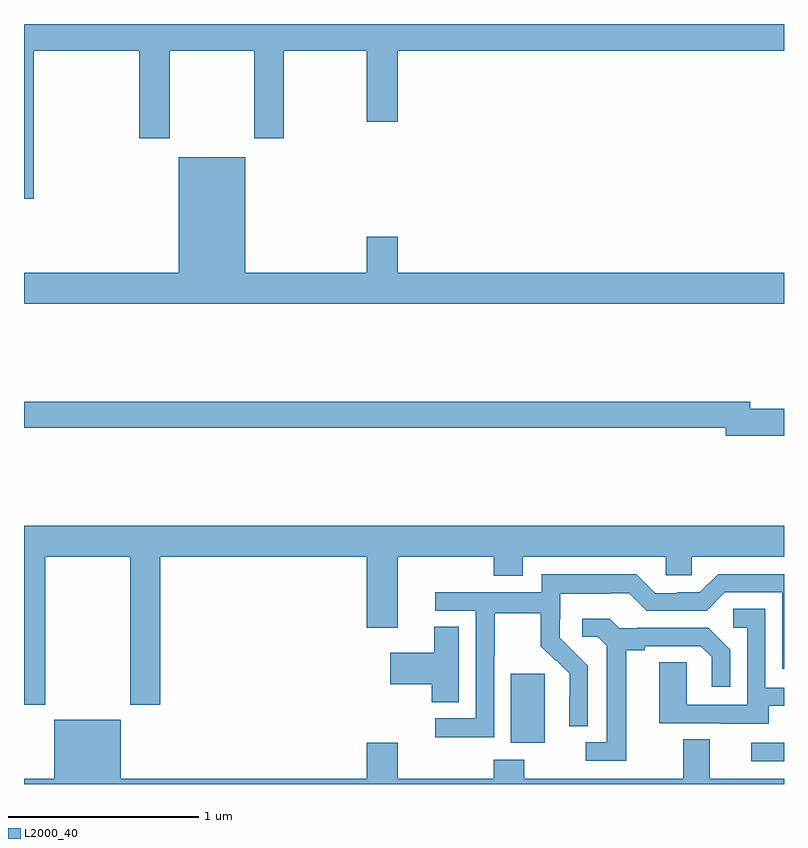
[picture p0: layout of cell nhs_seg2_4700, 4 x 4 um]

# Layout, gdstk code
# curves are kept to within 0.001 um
import gdstk
lib = gdstk.Library(unit=1e-6, precision=1e-09)
def R(c, l, rs):  # rectangles x0, y0, x1, y1
    for r in rs: c.add(gdstk.rectangle(r[:2], r[2:], *l))
def P(c, l, *ps):  # polygons
    for p in ps: c.add(gdstk.Polygon(p, *l))
L2000_40 = (2000, 40)

nhs_seg2_4700 = lib.new_cell('nhs_seg2_4700')
R(nhs_seg2_4700, L2000_40, [(370.827,619.92,371,620.016), (369.563,620.018,369.742,620.379)])
P(nhs_seg2_4700, L2000_40, [(367.052,623.66),(367.607,623.66),(367.607,623.199),(367.767,623.199),(367.767,623.66),(368.212,623.66),(368.212,623.199),(368.367,623.199),(368.367,623.66),(368.804,623.66),(368.804,623.286),(368.968,623.286),(368.968,623.66),(371,623.66),(371,623.8),(367,623.8),(367,622.881),(367.052,622.881)],
  [(371,622.492),(368.968,622.492),(368.968,622.681),(368.804,622.681),(368.804,622.492),(368.164,622.492),(368.164,623.098),(367.814,623.098),(367.814,622.492),(367,622.492),(367,622.328),(371,622.328)],
  [(371,621.776),(370.822,621.776),(370.822,621.812),(367,621.812),(367,621.676),(370.694,621.676),(370.694,621.634),(371,621.634)],
  [(367.113,620.996),(367.558,620.996),(367.558,620.217),(367.718,620.217),(367.718,620.996),(368.804,620.996),(368.804,620.622),(368.968,620.622),(368.968,620.996),(369.473,620.996),(369.473,620.897),(369.625,620.897),(369.625,620.996),(370.377,620.996),(370.377,620.898),(370.515,620.898),(370.515,620.996),(371,620.996),(371,621.16),(367,621.16),(367,620.217),(367.113,620.217)],
  [(369.474,620.476),(369.477,620.476),(369.477,620.7),(369.721,620.7),(369.721,620.525),(369.798,620.448),(369.801,620.451),(369.872,620.381),(369.872,620.258),(369.87,620.258),(369.87,620.104),(369.966,620.104),(369.966,620.422),(369.82,620.57),(369.82,620.667),(369.822,620.667),(369.822,620.801),(370.085,620.801),(370.085,620.805),(370.185,620.805),(370.278,620.712),(370.593,620.712),(370.689,620.808),(370.992,620.808),(370.992,620.406),(371,620.406),(371,620.904),(370.653,620.904),(370.557,620.808),(370.439,620.808),(370.439,620.805),(370.323,620.805),(370.223,620.905),(369.726,620.905),(369.726,620.808),(369.165,620.808),(369.165,620.712),(369.378,620.712),(369.378,620.145),(369.165,620.145),(369.165,620.047),(369.474,620.047)],
  [(370.921,620.211),(371,620.211),(371,620.307),(370.902,620.307),(370.902,620.723),(370.734,620.723),(370.734,620.622),(370.806,620.622),(370.806,620.217),(370.488,620.217),(370.488,620.441),(370.343,620.441),(370.343,620.121),(370.667,620.121),(370.667,620.117),(370.921,620.117)],
  [(370.171,620.504),(370.267,620.504),(370.267,620.526),(370.562,620.526),(370.619,620.469),(370.619,620.313),(370.716,620.313),(370.716,620.506),(370.6,620.622),(370.228,620.622),(370.228,620.619),(370.134,620.619),(370.082,620.671),(369.939,620.671),(369.939,620.574),(370.02,620.574),(370.067,620.527),(370.067,620.019),(369.957,620.019),(369.957,619.923),(370.171,619.923)],
  [(369.289,620.627),(369.158,620.627),(369.158,620.491),(368.928,620.491),(368.928,620.326),(369.146,620.326),(369.146,620.23),(369.289,620.23)],
  [(371,619.828),(370.609,619.828),(370.609,620.036),(370.469,620.036),(370.469,619.828),(369.633,619.828),(369.633,619.927),(369.473,619.927),(369.473,619.828),(368.968,619.828),(368.968,620.017),(368.804,620.017),(368.804,619.828),(367.51,619.828),(367.51,620.137),(367.16,620.137),(367.16,619.828),(367,619.828),(367,619.8),(371,619.8)])

lib.write_gds('nhs_seg2_4700.gds')
